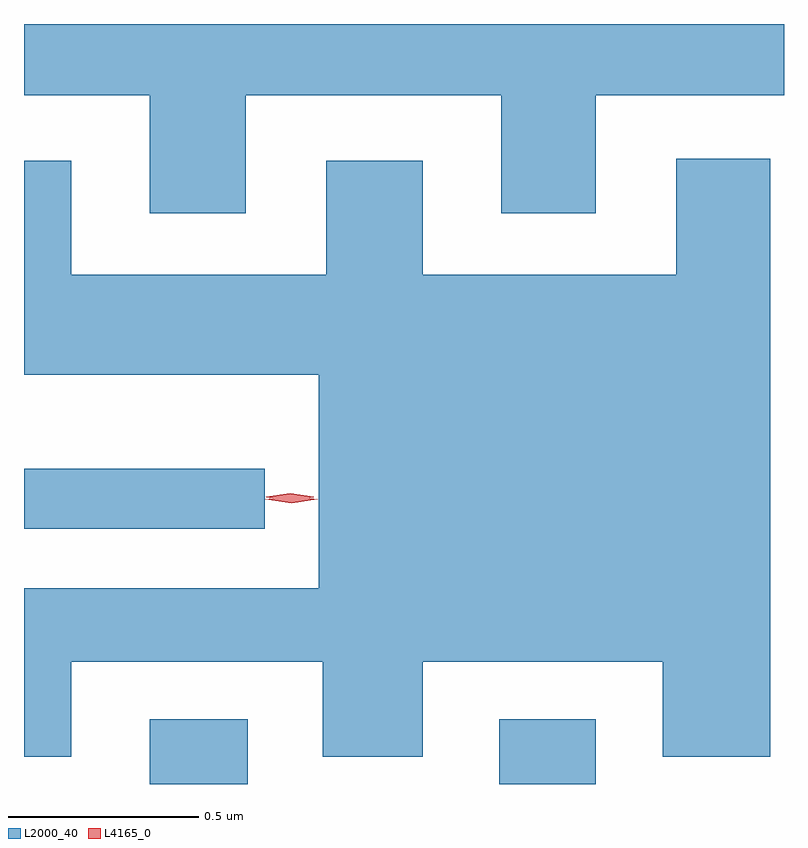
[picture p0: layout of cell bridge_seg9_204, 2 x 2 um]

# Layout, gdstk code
import gdstk
lib = gdstk.Library(unit=1e-6, precision=1e-09)
def R(c, l, rs):  # rectangles x0, y0, x1, y1
    for r in rs: c.add(gdstk.rectangle(r[:2], r[2:], *l))
def P(c, l, *ps):  # polygons
    for p in ps: c.add(gdstk.Polygon(p, *l))
L2000_40 = (2000, 40)
L4165_0 = (4165, 0)

bridge_seg9_204 = lib.new_cell('bridge_seg9_204')
R(bridge_seg9_204, L2000_40, [(1279.566,1987.784,1279.824,1987.954), (1280.486,1987.784,1280.739,1987.954), (1279.235,1988.456,1279.868,1988.614)])
P(bridge_seg9_204, L2000_40, [(1279.819,1989.596),(1280.491,1989.596),(1280.491,1989.286),(1280.739,1989.286),(1280.739,1989.596),(1281.235,1989.596),(1281.235,1989.784),(1279.235,1989.784),(1279.235,1989.596),(1279.566,1989.596),(1279.566,1989.286),(1279.819,1989.286)],
  [(1279.359,1988.106),(1280.021,1988.106),(1280.021,1987.856),(1280.284,1987.856),(1280.284,1988.106),(1280.916,1988.106),(1280.916,1987.856),(1281.199,1987.856),(1281.199,1989.429),(1280.951,1989.429),(1280.951,1989.124),(1280.284,1989.124),(1280.284,1989.424),(1280.031,1989.424),(1280.031,1989.124),(1279.359,1989.124),(1279.359,1989.424),(1279.235,1989.424),(1279.235,1988.861),(1280.011,1988.861),(1280.011,1988.299),(1279.235,1988.299),(1279.235,1987.856),(1279.359,1987.856)])
P(bridge_seg9_204, L4165_0, [(1279.936,1988.529),(1279.873,1988.539),(1279.873,1988.539),(1279.873,1988.54),(1279.936,1988.549),(1279.997,1988.54),(1279.998,1988.54),(1279.997,1988.539)],
  [(1279.939,1988.523),(1279.87,1988.533),(1279.869,1988.533),(1279.87,1988.534),(1279.939,1988.543),(1280.007,1988.534),(1280.008,1988.533),(1280.007,1988.533)])

lib.write_gds('bridge_seg9_204.gds')
